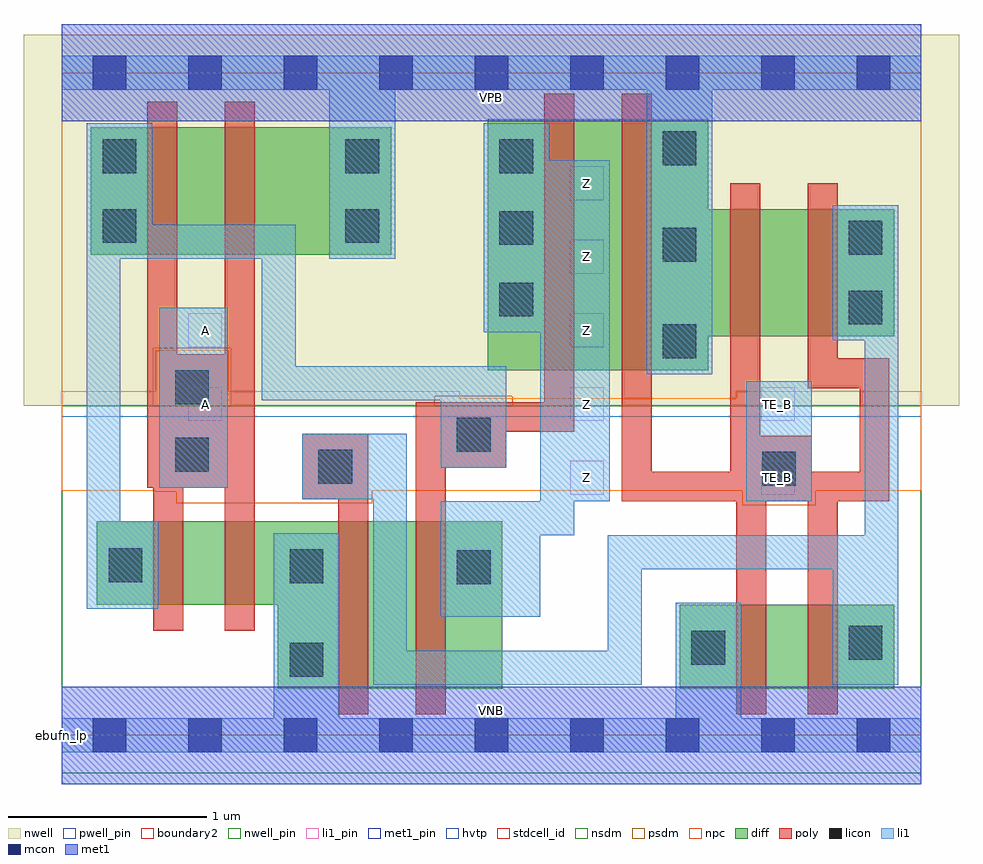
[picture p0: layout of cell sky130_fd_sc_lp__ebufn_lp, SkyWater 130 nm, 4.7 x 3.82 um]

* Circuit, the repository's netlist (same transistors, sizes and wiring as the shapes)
* Copyright 2020 The SkyWater PDK Authors
*
* Licensed under the Apache License, Version 2.0 (the "License");
* you may not use this file except in compliance with the License.
* You may obtain a copy of the License at
*
*     https://www.apache.org/licenses/LICENSE-2.0
*
* Unless required by applicable law or agreed to in writing, software
* distributed under the License is distributed on an "AS IS" BASIS,
* WITHOUT WARRANTIES OR CONDITIONS OF ANY KIND, either express or implied.
* See the License for the specific language governing permissions and
* limitations under the License.
*
* SPDX-License-Identifier: Apache-2.0

.SUBCKT sky130_fd_sc_lp__ebufn_lp A TE_B VGND VNB VPB VPWR Z
*.PININFO A:I TE_B:I VGND:I VNB:I VPB:I VPWR:I Z:O
MMN0 Z net025 sndA VNB sky130_fd_pr__nfet_01v8 m=1 w=0.84U l=0.15U mult=1 sa=0.265
+ sb=0.265 sd=0.28 area=0.063 perim=1.14
MMN1 sndA net32 VGND VNB sky130_fd_pr__nfet_01v8 m=1 w=0.84U l=0.15U mult=1 sa=0.265
+ sb=0.265 sd=0.28 area=0.063 perim=1.14
MMIN1 net32 TE_B net035 VNB sky130_fd_pr__nfet_01v8 m=1 w=0.42U l=0.15U mult=1
+ sa=0.265 sb=0.265 sd=0.28 area=0.063 perim=1.14
MI10 net035 TE_B VGND VNB sky130_fd_pr__nfet_01v8 m=1 w=0.42U l=0.15U mult=1 sa=0.265
+ sb=0.265 sd=0.28 area=0.063 perim=1.14
MI6 net025 A net039 VNB sky130_fd_pr__nfet_01v8 m=1 w=0.42U l=0.15U mult=1 sa=0.265
+ sb=0.265 sd=0.28 area=0.063 perim=1.14
MI8 net039 A VGND VNB sky130_fd_pr__nfet_01v8 m=1 w=0.42U l=0.15U mult=1 sa=0.265
+ sb=0.265 sd=0.28 area=0.063 perim=1.14
MMP0 VPWR TE_B sndTEB VPB sky130_fd_pr__pfet_01v8_hvt m=1 w=1.26U l=0.15U mult=1
+ sa=0.265 sb=0.265 sd=0.28 area=0.063 perim=1.14
MMP1 sndTEB net025 Z VPB sky130_fd_pr__pfet_01v8_hvt m=1 w=1.26U l=0.15U mult=1
+ sa=0.265 sb=0.265 sd=0.28 area=0.063 perim=1.14
MMIP1 net32 TE_B net059 VPB sky130_fd_pr__pfet_01v8_hvt m=1 w=0.64U l=0.15U mult=1
+ sa=0.265 sb=0.265 sd=0.28 area=0.063 perim=1.14
MI9 net059 TE_B VPWR VPB sky130_fd_pr__pfet_01v8_hvt m=1 w=0.64U l=0.15U mult=1
+ sa=0.265 sb=0.265 sd=0.28 area=0.063 perim=1.14
MI7 net066 A VPWR VPB sky130_fd_pr__pfet_01v8_hvt m=1 w=0.64U l=0.15U mult=1 sa=0.265
+ sb=0.265 sd=0.28 area=0.063 perim=1.14
MI5 net025 A net066 VPB sky130_fd_pr__pfet_01v8_hvt m=1 w=0.64U l=0.15U mult=1
+ sa=0.265 sb=0.265 sd=0.28 area=0.063 perim=1.14
.ENDS sky130_fd_sc_lp__ebufn_lp

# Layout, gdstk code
import gdstk
lib = gdstk.Library(unit=1e-6, precision=1e-09)
def R(c, l, rs):  # rectangles x0, y0, x1, y1
    for r in rs: c.add(gdstk.rectangle(r[:2], r[2:], *l))
def A(c, l, x, y, w, h, nx, ny, dx, dy):  # array of equal rectangles
    R(c, l, [(x+i*dx, y+j*dy, x+i*dx+w, y+j*dy+h) for i in range(nx) for j in range(ny)])
def P(c, l, *ps):  # polygons
    for p in ps: c.add(gdstk.Polygon(p, *l))
nwell_pin = (64, 16)
nwell = (64, 20)
diff = (65, 20)
poly = (66, 20)
licon = (66, 44)
li1_pin = (67, 16)
li1 = (67, 20)
mcon = (67, 44)
met1_pin = (68, 16)
met1 = (68, 20)
hvtp = (78, 44)
stdcell_id = (81, 4)
nsdm = (93, 44)
psdm = (94, 20)
npc = (95, 20)
pwell_pin = (122, 16)
boundary2 = (236, 0)

sky130_fd_sc_lp__ebufn_l = lib.new_cell('sky130_fd_sc_lp__ebufn_lp')
R(sky130_fd_sc_lp__ebufn_l, nwell_pin, [(0,3.085,4.32,3.33)])
R(sky130_fd_sc_lp__ebufn_l, nwell, [(-0.19,1.655,4.51,3.52)])
R(sky130_fd_sc_lp__ebufn_l, diff, [(3.105,0.235,4.185,0.655), (0.145,2.415,1.655,3.055)])
P(sky130_fd_sc_lp__ebufn_l, diff, [(2.215,1.075),(0.175,1.075),(0.175,0.655),(1.085,0.655),(1.085,0.235),(2.215,0.235)],
  [(4.185,2.645),(3.25,2.645),(3.25,3.095),(2.14,3.095),(2.14,1.835),(3.25,1.835),(3.25,2.005),(4.185,2.005)])
P(sky130_fd_sc_lp__ebufn_l, poly, [(0.97,3.185),(0.82,3.185),(0.82,1.915),(0.58,1.915),(0.58,3.185),(0.43,3.185),(0.43,1.245),(0.46,1.245),(0.46,0.525),(0.61,0.525),(0.61,1.245),(0.82,1.245),(0.82,0.525),(0.97,0.525)],
  [(1.54,1.515),(1.21,1.515),(1.21,1.185),(1.39,1.185),(1.39,0.105),(1.54,0.105)],
  [(2.575,3.225),(2.425,3.225),(2.425,1.675),(1.78,1.675),(1.78,0.105),(1.93,0.105),(1.93,1.345),(2.235,1.345),(2.235,1.525),(2.575,1.525)],
  [(4.16,1.895),(3.9,1.895),(3.9,2.775),(3.75,2.775),(3.75,1.745),(4.01,1.745),(4.01,1.325),(3.77,1.325),(3.77,1.505),(3.51,1.505),(3.51,2.775),(3.36,2.775),(3.36,1.325),(2.965,1.325),(2.965,3.225),(2.815,3.225),(2.815,1.175),(3.39,1.175),(3.39,0.105),(3.54,0.105),(3.54,1.175),(3.75,1.175),(3.75,0.105),(3.9,0.105),(3.9,1.175),(4.16,1.175)])
A(sky130_fd_sc_lp__ebufn_l, licon, 3.02, 1.895, 0.17, 0.17, 1, 3, 0, 0.485)
A(sky130_fd_sc_lp__ebufn_l, licon, 2.2, 2.105, 0.17, 0.17, 1, 3, 0, 0.36)
R(sky130_fd_sc_lp__ebufn_l, licon, [(1.145,0.295,1.315,0.465), (3.165,0.355,3.335,0.525), (3.955,0.38,4.125,0.55), (1.985,0.76,2.155,0.93), (1.145,0.765,1.315,0.935), (0.235,0.77,0.405,0.94), (3.52,1.255,3.69,1.425), (1.29,1.265,1.46,1.435), (0.57,1.325,0.74,1.495), (1.985,1.425,2.155,1.595), (0.57,1.665,0.74,1.835), (3.955,2.065,4.125,2.235), (3.955,2.415,4.125,2.585), (0.205,2.475,0.375,2.645), (1.425,2.475,1.595,2.645), (0.205,2.825,0.375,2.995), (1.425,2.825,1.595,2.995)])
A(sky130_fd_sc_lp__ebufn_l, li1_pin, 2.555, 1.21, 0.17, 0.17, 1, 5, 0, 0.37)
R(sky130_fd_sc_lp__ebufn_l, li1_pin, [(3.515,1.21,3.685,1.38), (0.635,1.58,0.805,1.75), (3.515,1.58,3.685,1.75), (0.635,1.95,0.805,2.12)])
R(sky130_fd_sc_lp__ebufn_l, li1, [(3.44,1.175,3.77,1.78), (0.49,1.245,0.835,2.15)])
P(sky130_fd_sc_lp__ebufn_l, li1, [(1.345,2.395),(1.345,3.245),(0,3.245),(0,3.415),(4.32,3.415),(4.32,3.245),(3.27,3.245),(3.27,1.815),(2.94,1.815),(2.94,3.245),(1.675,3.245),(1.675,2.395)],
  [(1.065,0.085),(1.065,1.015),(1.395,1.015),(1.395,0.085),(3.085,0.085),(3.085,0.665),(3.415,0.665),(3.415,0.085),(4.32,0.085),(4.32,-0.085),(0,-0.085),(0,0.085)],
  [(2.745,1.005),(4.035,1.005),(4.035,1.985),(3.875,1.985),(3.875,2.665),(4.205,2.665),(4.205,0.255),(3.875,0.255),(3.875,0.835),(2.915,0.835),(2.915,0.255),(1.565,0.255),(1.565,1.185),(1.21,1.185),(1.21,1.515),(1.735,1.515),(1.735,0.425),(2.745,0.425)],
  [(0.455,2.565),(1.175,2.565),(1.175,1.855),(2.235,1.855),(2.235,1.345),(1.905,1.345),(1.905,1.685),(1.005,1.685),(1.005,2.395),(0.295,2.395),(0.295,1.075),(0.485,1.075),(0.485,0.635),(0.125,0.635),(0.125,3.075),(0.455,3.075)],
  [(2.12,2.025),(2.12,3.075),(2.45,3.075),(2.45,2.89),(2.755,2.89),(2.755,1.175),(2.575,1.175),(2.575,1.005),(2.405,1.005),(2.405,0.595),(1.905,0.595),(1.905,1.175),(2.405,1.175),(2.405,2.025)])
A(sky130_fd_sc_lp__ebufn_l, mcon, 0.155, -0.085, 0.17, 0.17, 9, 2, 0.48, 3.33)
R(sky130_fd_sc_lp__ebufn_l, met1_pin, [(0,0,4.32,0.245), (0,3.085,4.32,3.33)])
R(sky130_fd_sc_lp__ebufn_l, met1, [(0,-0.245,4.32,0.245), (0,3.085,4.32,3.575)])
R(sky130_fd_sc_lp__ebufn_l, hvtp, [(0,1.6,4.32,3.33)])
R(sky130_fd_sc_lp__ebufn_l, stdcell_id, [(0,0,4.32,3.33)])
R(sky130_fd_sc_lp__ebufn_l, nsdm, [(0,-0.19,4.32,1.655)])
P(sky130_fd_sc_lp__ebufn_l, psdm, [(4.32,3.52),(0,3.52),(0,1.655),(0.46,1.655),(0.46,1.945),(0.85,1.945),(0.85,1.655),(1.875,1.655),(1.875,1.705),(2.265,1.705),(2.265,1.655),(4.32,1.655)])
P(sky130_fd_sc_lp__ebufn_l, npc, [(4.32,1.73),(3.39,1.73),(3.39,1.695),(2,1.695),(2,1.73),(0.84,1.73),(0.84,1.935),(0.47,1.935),(0.47,1.73),(0,1.73),(0,1.23),(0.47,1.23),(0.47,1.225),(0.575,1.225),(0.575,1.165),(1.56,1.165),(1.56,1.23),(3.42,1.23),(3.42,1.155),(3.79,1.155),(3.79,1.23),(4.32,1.23)])
R(sky130_fd_sc_lp__ebufn_l, pwell_pin, [(0,0,4.32,0.245)])
R(sky130_fd_sc_lp__ebufn_l, boundary2, [(0,0,4.32,3.33)])
sky130_fd_sc_lp__ebufn_l.add(gdstk.Label('VNB', (2.16,0.123), layer=64, texttype=59))
sky130_fd_sc_lp__ebufn_l.add(gdstk.Label('VPB', (2.16,3.208), layer=64, texttype=5))
sky130_fd_sc_lp__ebufn_l.add(gdstk.Label('ebufn_lp', (0,0), layer=83, texttype=44))
sky130_fd_sc_lp__ebufn_l.add(gdstk.Label('VPWR', (2.16,3.208), layer=68, texttype=5))
sky130_fd_sc_lp__ebufn_l.add(gdstk.Label('VGND', (2.16,0.123), layer=68, texttype=5))
sky130_fd_sc_lp__ebufn_l.add(gdstk.Label('A', (0.72,1.665), layer=67, texttype=5))
sky130_fd_sc_lp__ebufn_l.add(gdstk.Label('A', (0.72,2.035), layer=67, texttype=5))
sky130_fd_sc_lp__ebufn_l.add(gdstk.Label('TE_B', (3.6,1.295), layer=67, texttype=5))
sky130_fd_sc_lp__ebufn_l.add(gdstk.Label('TE_B', (3.6,1.665), layer=67, texttype=5))
sky130_fd_sc_lp__ebufn_l.add(gdstk.Label('Z', (2.64,1.295), layer=67, texttype=5))
sky130_fd_sc_lp__ebufn_l.add(gdstk.Label('Z', (2.64,1.665), layer=67, texttype=5))
sky130_fd_sc_lp__ebufn_l.add(gdstk.Label('Z', (2.64,2.035), layer=67, texttype=5))
sky130_fd_sc_lp__ebufn_l.add(gdstk.Label('Z', (2.64,2.405), layer=67, texttype=5))
sky130_fd_sc_lp__ebufn_l.add(gdstk.Label('Z', (2.64,2.775), layer=67, texttype=5))

lib.write_gds('sky130_fd_sc_lp__ebufn_lp.gds')
